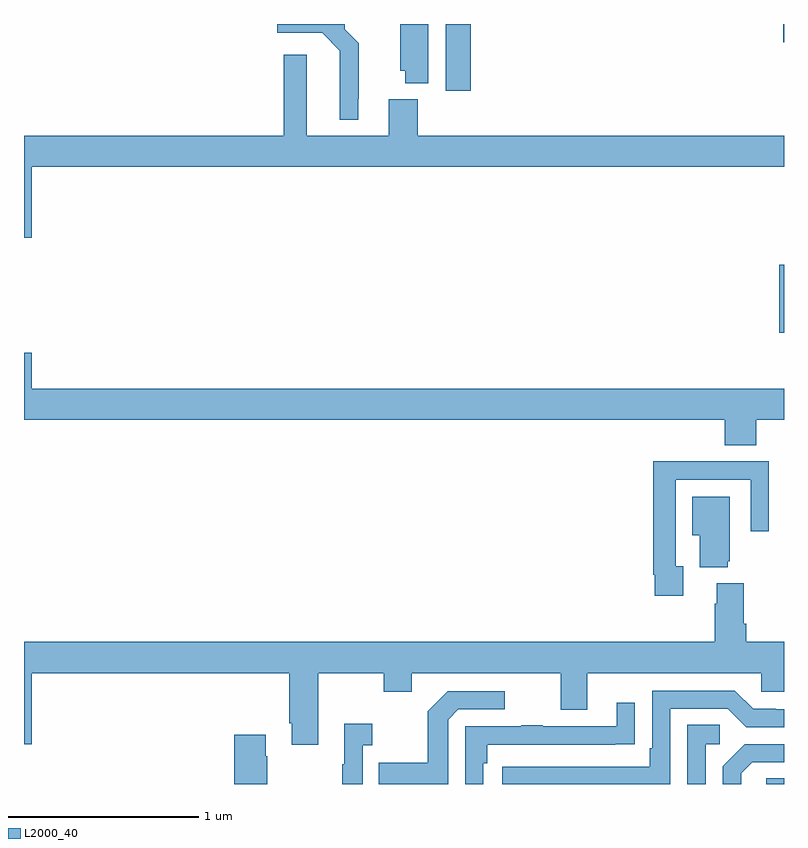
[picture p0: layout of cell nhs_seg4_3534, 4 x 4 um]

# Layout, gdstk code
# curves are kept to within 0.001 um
import gdstk
lib = gdstk.Library(unit=1e-6, precision=1e-09)
def R(c, l, rs):  # rectangles x0, y0, x1, y1
    for r in rs: c.add(gdstk.rectangle(r[:2], r[2:], *l))
def P(c, l, *ps):  # polygons
    for p in ps: c.add(gdstk.Polygon(p, *l))
L2000_40 = (2000, 40)

nhs_seg4_3534 = lib.new_cell('nhs_seg4_3534')
R(nhs_seg4_3534, L2000_40, [(300.906,798.9,301,798.929), (300.974,801.274,301,801.634), (299.219,802.548,299.351,802.9), (300.996,802.805,301,802.9)])
P(nhs_seg4_3534, L2000_40, [(299.128,802.9),(298.979,802.9),(298.979,802.653),(299.006,802.653),(299.006,802.589),(299.128,802.589)],
  [(298.759,802.507),(298.763,802.507),(298.763,802.798),(298.689,802.872),(298.689,802.9),(298.332,802.9),(298.332,802.853),(298.569,802.853),(298.662,802.76),(298.661,802.397),(298.759,802.397)],
  [(301,802.312),(299.072,802.312),(299.072,802.504),(298.919,802.504),(298.919,802.312),(298.489,802.312),(298.489,802.738),(298.367,802.738),(298.367,802.312),(297,802.312),(297,801.774),(297.04,801.774),(297.04,802.148),(301,802.148)],
  [(300.854,800.816),(301,800.816),(301,800.98),(297.04,800.98),(297.04,801.169),(297,801.169),(297,800.816),(300.689,800.816),(300.689,800.683),(300.854,800.683)],
  [(300.469,800.046),(300.429,800.046),(300.429,800.502),(300.825,800.502),(300.825,800.229),(300.921,800.229),(300.921,800.598),(300.605,800.598),(300.605,800.6),(300.313,800.6),(300.313,800.002),(300.321,800.002),(300.321,799.89),(300.469,799.89)],
  [(300.704,800.073),(300.715,800.073),(300.715,800.413),(300.518,800.413),(300.518,800.21),(300.557,800.21),(300.557,800.042),(300.704,800.042)],
  [(298.549,799.484),(298.894,799.484),(298.894,799.385),(299.041,799.385),(299.041,799.484),(299.825,799.484),(299.825,799.29),(299.965,799.29),(299.965,799.484),(300.879,799.484),(300.879,799.386),(301,799.386),(301,799.648),(300.8,799.648),(300.8,799.744),(300.787,799.744),(300.787,799.957),(300.647,799.957),(300.647,799.85),(300.635,799.85),(300.635,799.648),(297,799.648),(297,799.11),(297.04,799.11),(297.04,799.484),(298.397,799.484),(298.397,799.219),(298.409,799.219),(298.409,799.107),(298.549,799.107)],
  [(300.402,799.296),(300.705,799.296),(300.801,799.2),(301,799.2),(301,799.293),(300.956,799.293),(300.956,799.296),(300.837,799.296),(300.741,799.392),(300.306,799.392),(300.306,799.087),(300.293,799.087),(300.293,798.99),(299.517,798.99),(299.517,798.9),(300.402,798.9)],
  [(299.232,799.239),(299.286,799.293),(299.53,799.293),(299.53,799.389),(299.229,799.389),(299.124,799.283),(299.124,799.011),(298.867,799.011),(298.867,798.9),(299.232,798.9)],
  [(299.418,799.01),(299.438,799.01),(299.438,799.107),(300.113,799.107),(300.113,799.108),(300.215,799.108),(300.215,799.327),(300.119,799.327),(300.119,799.203),(299.729,799.203),(299.729,799.208),(299.617,799.208),(299.617,799.203),(299.322,799.203),(299.322,798.9),(299.418,798.9)],
  [(298.782,799.103),(298.834,799.103),(298.834,799.216),(298.685,799.216),(298.685,799.003),(298.674,799.003),(298.674,798.9),(298.782,798.9)],
  [(300.588,799.11),(300.661,799.11),(300.661,799.211),(300.492,799.211),(300.492,798.9),(300.588,798.9)],
  [(298.281,799.046),(298.273,799.046),(298.273,799.159),(298.106,799.159),(298.106,798.9),(298.281,798.9)],
  [(300.775,798.957),(300.832,799.014),(301,799.014),(301,799.11),(300.794,799.11),(300.678,798.994),(300.678,798.9),(300.775,798.9)])

lib.write_gds('nhs_seg4_3534.gds')
